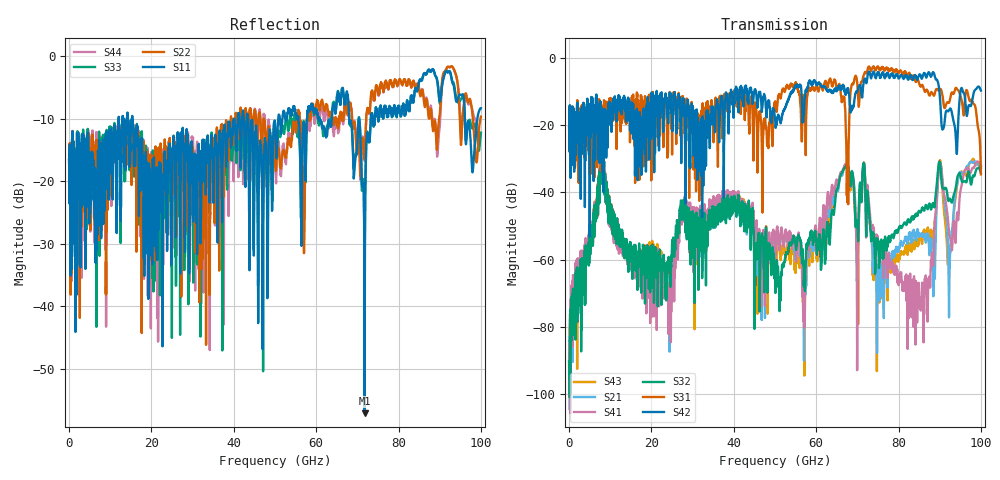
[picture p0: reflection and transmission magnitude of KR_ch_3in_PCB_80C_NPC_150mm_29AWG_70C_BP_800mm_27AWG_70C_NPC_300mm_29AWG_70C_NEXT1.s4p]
# GHz S RI R 45
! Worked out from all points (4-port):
!   4000 points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, 25 MHz to 100 GHz, reference 45 ohm
!   strongest paths, dB at 25 MHz, 25.02 GHz, 50.02 GHz, 75.03 GHz, 100 GHz:
!     S42: -20.7, -17.7, -18.0, -4.4, -9.7
!     S31: -20.6, -28.8, -13.0, -2.6, -34.6
!     S32: -90.2, -54.9, -64.0, -56.8, -34.2
!     S41: -88.9, -65.9, -60.6, -55.6, -31.9
!     S21: -90.4, -60.7, -58.7, -67.5, -32.8
!     S43: -92.4, -59.7, -57.4, -67.4, -32.2
!   lowest |S11| = -57.2 dB at 71.78 GHz (marker M1), VSWR 1.00, Z = 45.1 + j0.0849 ohm
!   |S11| at or under -10 dB: start of sweep to 12.07 GHz; 15.36 GHz to 40.11 GHz (24.76 GHz wide, 89.3 % of centre); 43.48 GHz to 50.81 GHz (7.328 GHz wide, 15.5 % of centre)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
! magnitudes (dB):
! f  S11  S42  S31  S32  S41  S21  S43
! 25 MHz  -16.5  -20.7  -20.6  -90.2  -88.9  -90.4  -92.4
! 8.025 GHz  -17.2  -25.3  -18.9  -31.0  -30.8  -31.5  -30.4
! 24.3 GHz  -16.9  -13.8  -14.1  -61.6  -68.6  -72.7  -67.2
! 71.78 GHz  -57.2  -6.3  -4.4  -33.5  -33.0  -33.6  -33.0
! 75.17 GHz  -10.0  -4.4  -3.1  -57.2  -55.9  -61.6  -61.8
! 85.75 GHz  -3.7  -6.0  -8.0  -44.6  -67.4  -53.1  -54.9
! 100 GHz  -8.3  -9.7  -34.6  -34.2  -31.9  -32.8  -32.2
